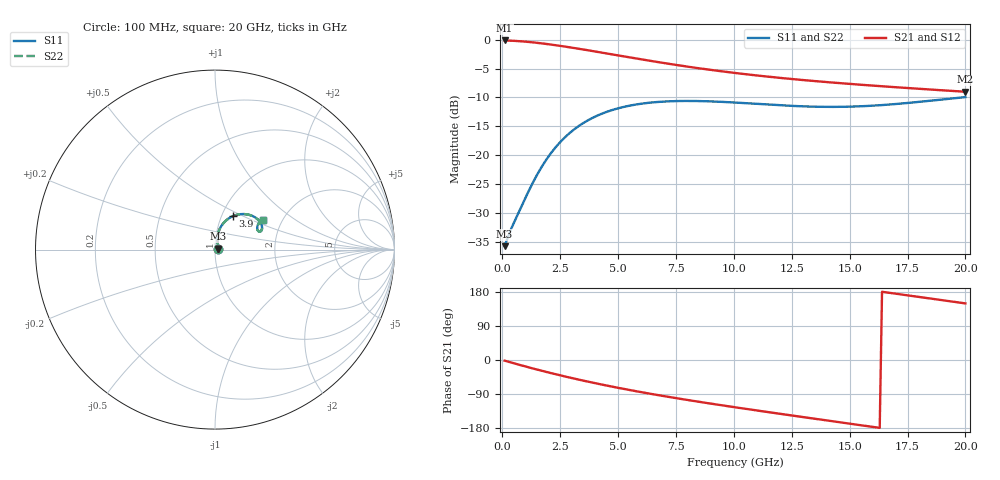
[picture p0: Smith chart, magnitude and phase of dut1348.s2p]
! Touchstone file exported from HFSS 2024.1.0
!  File:  C:/UserFiles/LocalFiles/RDL_TSV_Batchsim/temp_RDL_TSV_1348_1780393503.aedt
!  Generated:  06:02:04 PM Jun  2, 2026
!  Design:  RDL_TSV
!  Project:  temp_RDL_TSV_1348_1780393503
!  Setup:  Setup1
!  Solution:  Sweep
! Variables:
!  dtsv = 8.37um
!  hbump = 3um
!  htsv = 54.86um
!  ldown = 691.49um
!  lrdl = 309.8um
!  p = 40
!  p1 = 51.35um
!  rhole = 10um
!  subl = 3313.67um
!  t = 450um
!  tdown = 2.83um
!  trdl = 4.72um
!  viad = 10um
!  wdown = 26.16um
!  wrdl = 19.51um
!  xbump = 18um
# GHz S MA R 50.000000
! Terminal data exported
! Port[1] = TM1_1_T1
! Port[2] = TM1_4_T1
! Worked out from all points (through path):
!   200 points, 100 MHz to 20 GHz, reference 50 ohm
!   highest |S21| = -0.14 dB at 100 MHz (marker M1); lowest = -9.0 dB at 20 GHz (marker M2)
!   group delay of S21, straight-line fit = 27.6 ps
!   lowest |S11| = -35.8 dB at 100 MHz (marker M3), VSWR 1.03, Z = 51.6 + j0.474 ohm
!   |S11| at or under -10 dB: start of sweep to 19.9 GHz
!   |S22| runs from -35.8 to -10.0 dB; largest |S21 - S12| = 3.1e-13
!   S11 on the Smith chart (normalised r, x): 100 MHz: 1.03, +0.01; 3.9 GHz: 1.13, +0.44; 20 GHz: 1.60, +0.60
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0.1  0.01622 16.4  0.9842 -1.8  0.9842 -1.8  0.01622 16.4
! Gamma 0 0 0 0
! Port Impedance 50 0 50 0
0.4  0.02332 43.5  0.9789 -7.0  0.9789 -7.0  0.02332 43.5
1.1  0.04694 72.4  0.9571 -18.8  0.9571 -18.8  0.04692 72.4
1.5  0.06735 78.1  0.9391 -25.2  0.9391 -25.2  0.06731 78.1
1.8  0.08499 79.1  0.9236 -29.9  0.9236 -29.9  0.08494 79.1
2.2  0.1102 77.9  0.9012 -36.0  0.9012 -36.0  0.1101 77.9
2.6  0.1358 75.1  0.8774 -41.9  0.8774 -41.9  0.1357 75.1
3  0.1607 71.4  0.8528 -47.6  0.8528 -47.6  0.1606 71.4
3.5  0.1895 66.3  0.8216 -54.5  0.8216 -54.5  0.1893 66.3
3.9  0.2101 62.1  0.7967 -59.7  0.7967 -59.7  0.2099 62.1
4.5  0.2364 56.0  0.76 -67.3  0.76 -67.3  0.2362 56.0
5.2  0.26 49.5  0.7189 -75.8  0.7189 -75.8  0.2599 49.4
6  0.2785 42.8  0.6752 -84.8  0.6752 -84.8  0.2783 42.8
6.8  0.2892 37.1  0.6355 -93.4  0.6355 -93.4  0.289 37.1
8.4  0.2939 28.5  0.5683 -109.4  0.5683 -109.4  0.2937 28.5
10.1  0.2847 23.3  0.5129 -125.2  0.5129 -125.2  0.2845 23.3
11.7  0.2722 21.8  0.4727 -139.4  0.4727 -139.4  0.272 21.8
13.4  0.2627 23.2  0.4391 -154.2  0.4391 -154.2  0.2625 23.1
15  0.2626 26.2  0.4135 -168.0  0.4135 -168.0  0.2624 26.1
16.7  0.2738 29.6  0.3906 177.4  0.3906 177.4  0.2735 29.5
18.3  0.293 31.5  0.3717 163.8  0.3717 163.8  0.2925 31.4
20  0.3177 31.8  0.3537 149.3  0.3537 149.3  0.3171 31.7
